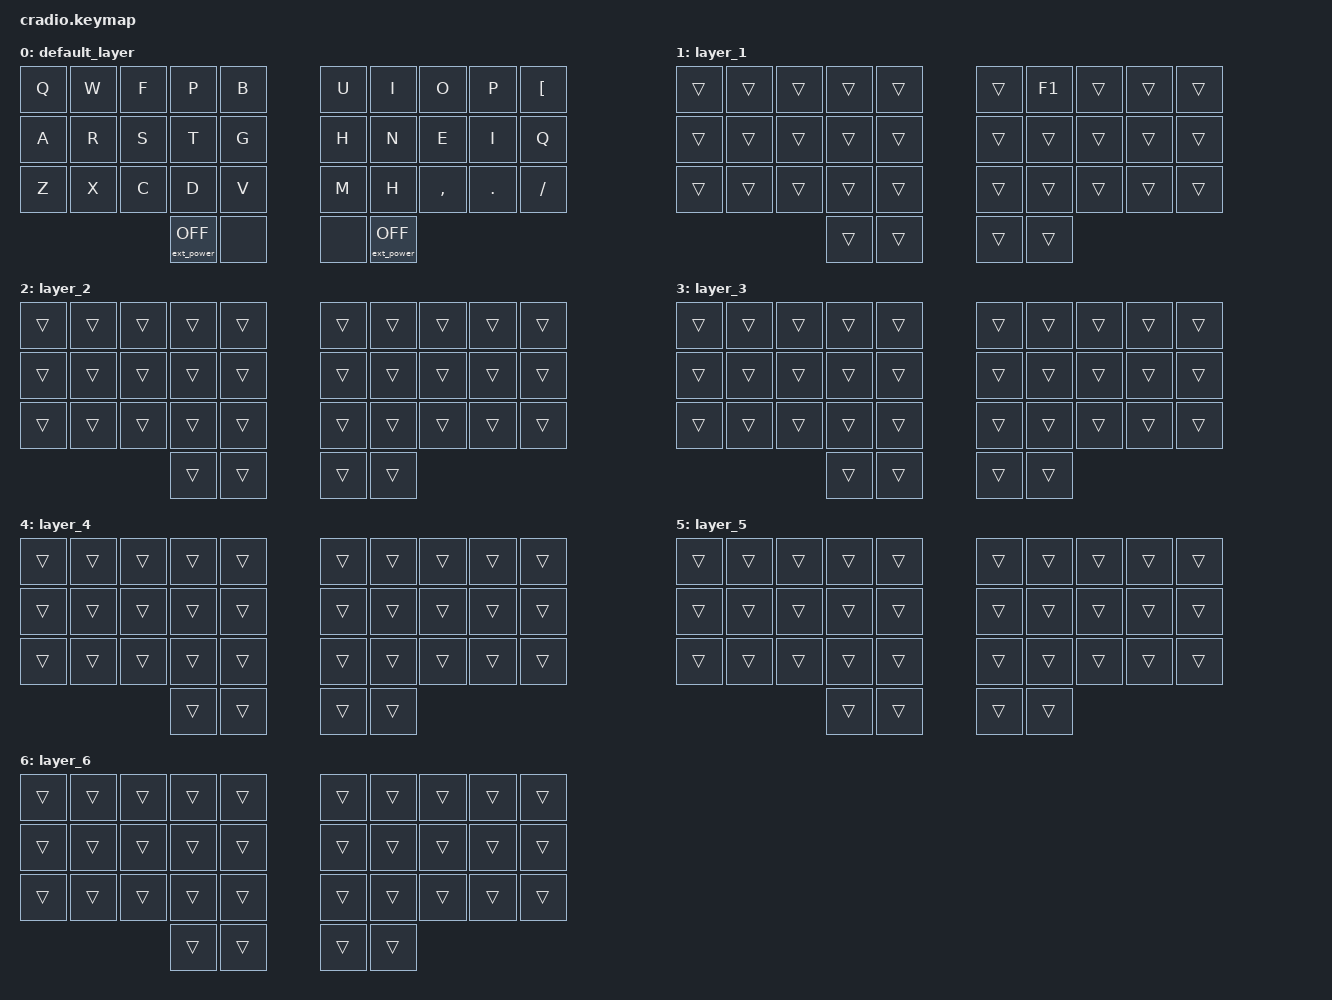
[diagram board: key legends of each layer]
// Copyright (c) 2022 The ZMK Contributors
// SPDX-License-Identifier: MIT

#include <behaviors.dtsi>
#include <dt-bindings/zmk/keys.h>
#include <dt-bindings/zmk/ext_power.h>

// Layers

#define BASE 0

&lt {
    tapping-term-ms = <180>;
    flavor = "tap-preferred";
};

/ {
    keymap {
        compatible = "zmk,keymap";

        default_layer {
            bindings = <
&kp Q  &kp W  &kp F  &kp P  &kp B    &kp U  &kp I  &kp O      &kp P    &kp LEFT_BRACKET
&kp A  &kp R  &kp S  &kp T  &kp G    &kp H  &kp N  &kp E      &kp I    &kp Q
&kp Z  &kp X  &kp C  &kp D  &kp V    &kp M  &kp H  &kp COMMA  &kp DOT  &kp FSLH
                     &ext_power EP_OFF  &none    &none  &ext_power EP_OFF
            >;
        };

        layer_1 {
            bindings = <
&trans  &trans  &trans  &trans  &trans    &trans  &kp F1  &trans  &trans  &trans
&trans  &trans  &trans  &trans  &trans    &trans  &trans  &trans  &trans  &trans
&trans  &trans  &trans  &trans  &trans    &trans  &trans  &trans  &trans  &trans
                        &trans  &trans    &trans  &trans
            >;
        };

        layer_2 {
            bindings = <
&trans  &trans  &trans  &trans  &trans    &trans  &trans  &trans  &trans  &trans
&trans  &trans  &trans  &trans  &trans    &trans  &trans  &trans  &trans  &trans
&trans  &trans  &trans  &trans  &trans    &trans  &trans  &trans  &trans  &trans
                        &trans  &trans    &trans  &trans
            >;
        };

        layer_3 {
            bindings = <
&trans  &trans  &trans  &trans  &trans    &trans  &trans  &trans  &trans  &trans
&trans  &trans  &trans  &trans  &trans    &trans  &trans  &trans  &trans  &trans
&trans  &trans  &trans  &trans  &trans    &trans  &trans  &trans  &trans  &trans
                        &trans  &trans    &trans  &trans
            >;
        };

        layer_4 {
            bindings = <
&trans  &trans  &trans  &trans  &trans    &trans  &trans  &trans  &trans  &trans
&trans  &trans  &trans  &trans  &trans    &trans  &trans  &trans  &trans  &trans
&trans  &trans  &trans  &trans  &trans    &trans  &trans  &trans  &trans  &trans
                        &trans  &trans    &trans  &trans
            >;
        };

        layer_5 {
            bindings = <
&trans  &trans  &trans  &trans  &trans    &trans  &trans  &trans  &trans  &trans
&trans  &trans  &trans  &trans  &trans    &trans  &trans  &trans  &trans  &trans
&trans  &trans  &trans  &trans  &trans    &trans  &trans  &trans  &trans  &trans
                        &trans  &trans    &trans  &trans
            >;
        };

        layer_6 {
            bindings = <
&trans  &trans  &trans  &trans  &trans    &trans  &trans  &trans  &trans  &trans
&trans  &trans  &trans  &trans  &trans    &trans  &trans  &trans  &trans  &trans
&trans  &trans  &trans  &trans  &trans    &trans  &trans  &trans  &trans  &trans
                        &trans  &trans    &trans  &trans
            >;
        };
    };
};
